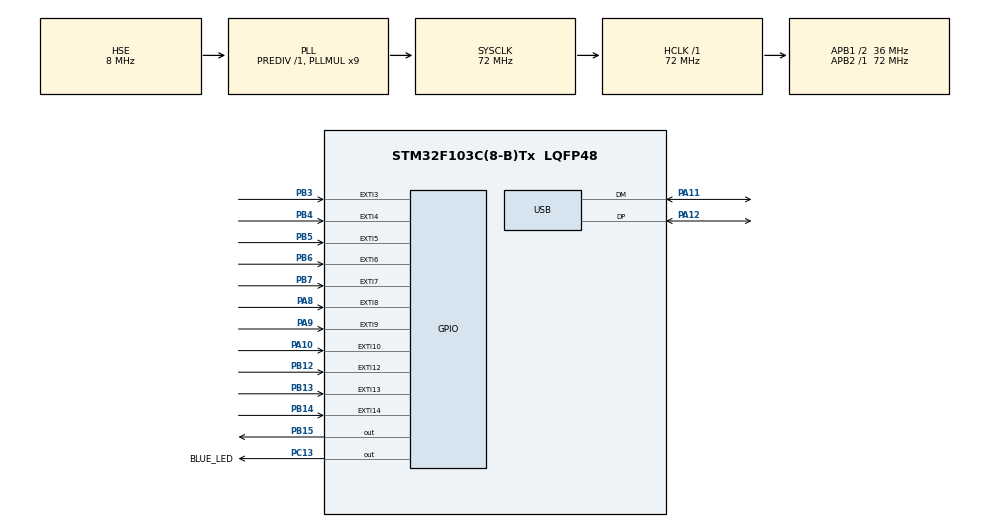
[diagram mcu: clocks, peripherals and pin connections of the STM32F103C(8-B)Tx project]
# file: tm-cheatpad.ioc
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Mcu.Family=STM32F1
Mcu.Name=STM32F103C(8-B)Tx
Mcu.Package=LQFP48
NVIC.EXTI15_10_IRQn=true\:0\:0\:false\:false\:true
NVIC.EXTI3_IRQn=true\:0\:0\:false\:false\:true
NVIC.EXTI4_IRQn=true\:0\:0\:false\:false\:true
NVIC.EXTI9_5_IRQn=true\:0\:0\:false\:false\:true
NVIC.PriorityGroup=NVIC_PRIORITYGROUP_4
NVIC.USB_LP_CAN1_RX0_IRQn=true\:0\:0\:false\:false\:true
PA10.GPIO_ModeDefaultEXTI=GPIO_MODE_IT_FALLING
PA10.Signal=GPXTI10
PA11.Mode=Device
PA11.Signal=USB_DM
PA12.Mode=Device
PA12.Signal=USB_DP
PA13.Mode=Serial_Wire
PA13.Signal=SYS_JTMS-SWDIO
PA14.Mode=Serial_Wire
PA14.Signal=SYS_JTCK-SWCLK
PA8.GPIO_ModeDefaultEXTI=GPIO_MODE_IT_FALLING
PA8.Signal=GPXTI8
PA9.GPIO_ModeDefaultEXTI=GPIO_MODE_IT_FALLING
PA9.Signal=GPXTI9
PB12.GPIO_ModeDefaultEXTI=GPIO_MODE_IT_FALLING
PB12.Signal=GPXTI12
PB13.GPIO_ModeDefaultEXTI=GPIO_MODE_IT_FALLING
PB13.Signal=GPXTI13
PB14.GPIO_ModeDefaultEXTI=GPIO_MODE_IT_FALLING
PB14.Signal=GPXTI14
PB15.GPIO_ModeDefaultOutputPP=GPIO_MODE_OUTPUT_PP
PB15.GPIO_Speed=GPIO_SPEED_FREQ_LOW
PB15.PinState=GPIO_PIN_SET
PB15.Signal=GPIO_Output
PB3.GPIO_ModeDefaultEXTI=GPIO_MODE_IT_FALLING
PB3.Signal=GPXTI3
PB4.GPIO_ModeDefaultEXTI=GPIO_MODE_IT_FALLING
PB4.Signal=GPXTI4
PB5.GPIO_ModeDefaultEXTI=GPIO_MODE_IT_FALLING
PB5.Signal=GPXTI5
PB6.GPIO_ModeDefaultEXTI=GPIO_MODE_IT_FALLING
PB6.Signal=GPXTI6
PB7.GPIO_ModeDefaultEXTI=GPIO_MODE_IT_FALLING
PB7.Signal=GPXTI7
PC13-TAMPER-RTC.GPIO_Label=BLUE_LED
PC13-TAMPER-RTC.Signal=GPIO_Output
PD0-OSC_IN.Mode=HSE-External-Oscillator
PD0-OSC_IN.Signal=RCC_OSC_IN
PD1-OSC_OUT.Mode=HSE-External-Oscillator
PD1-OSC_OUT.Signal=RCC_OSC_OUT
ProjectManager.HeapSize=0x200
ProjectManager.StackSize=0x400
ProjectManager.TargetToolchain=SW4STM32
RCC.AHBFreq_Value=72000000
RCC.APB1CLKDivider=RCC_HCLK_DIV2
RCC.APB1Freq_Value=36000000
RCC.APB1TimFreq_Value=72000000
RCC.APB2Freq_Value=72000000
RCC.APB2TimFreq_Value=72000000
RCC.HCLKFreq_Value=72000000
RCC.HSIState=RCC_HSI_ON
RCC.PLLMUL=RCC_PLL_MUL9
RCC.SYSCLKFreq_VALUE=72000000
RCC.SYSCLKSource=RCC_SYSCLKSOURCE_PLLCLK
RCC.USBFreq_Value=48000000
RCC.USBPrescaler=RCC_USBCLKSOURCE_PLL_DIV1_5
RCC.VDD_VALUE=3.3
USB_DEVICE.CLASS_NAME_FS=HID
USB_DEVICE.VirtualModeFS=Hid_FS
VP_USB_DEVICE_VS_USB_DEVICE_HID_FS.Mode=HID_FS
board=tm-cheatpad

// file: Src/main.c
/**
  ******************************************************************************
  * File Name          : main.c
  * Description        : Main program body
  ******************************************************************************
  *
  * Copyright (c) 2017 STMicroelectronics International N.V.
  * All rights reserved.
  *
  * Redistribution and use in source and binary forms, with or without
  * modification, are permitted, provided that the following conditions are met:
  *
  * 1. Redistribution of source code must retain the above copyright notice,
  *    this list of conditions and the following disclaimer.
  * 2. Redistributions in binary form must reproduce the above copyright notice,
  *    this list of conditions and the following disclaimer in the documentation
  *    and/or other materials provided with the distribution.
  * 3. Neither the name of STMicroelectronics nor the names of other
  *    contributors to this software may be used to endorse or promote products
  *    derived from this software without specific written permission.
  * 4. This software, including modifications and/or derivative works of this
  *    software, must execute solely and exclusively on microcontroller or
  *    microprocessor devices manufactured by or for STMicroelectronics.
  * 5. Redistribution and use of this software other than as permitted under
  *    this license is void and will automatically terminate your rights under
  *    this license.
  *
  * THIS SOFTWARE IS PROVIDED BY STMICROELECTRONICS AND CONTRIBUTORS "AS IS"
  * AND ANY EXPRESS, IMPLIED OR STATUTORY WARRANTIES, INCLUDING, BUT NOT
  * LIMITED TO, THE IMPLIED WARRANTIES OF MERCHANTABILITY, FITNESS FOR A
  * PARTICULAR PURPOSE AND NON-INFRINGEMENT OF THIRD PARTY INTELLECTUAL PROPERTY
  * RIGHTS ARE DISCLAIMED TO THE FULLEST EXTENT PERMITTED BY LAW. IN NO EVENT
  * SHALL STMICROELECTRONICS OR CONTRIBUTORS BE LIABLE FOR ANY DIRECT, INDIRECT,
  * INCIDENTAL, SPECIAL, EXEMPLARY, OR CONSEQUENTIAL DAMAGES (INCLUDING, BUT NOT
  * LIMITED TO, PROCUREMENT OF SUBSTITUTE GOODS OR SERVICES; LOSS OF USE, DATA,
  * OR PROFITS; OR BUSINESS INTERRUPTION) HOWEVER CAUSED AND ON ANY THEORY OF
  * LIABILITY, WHETHER IN CONTRACT, STRICT LIABILITY, OR TORT (INCLUDING
  * NEGLIGENCE OR OTHERWISE) ARISING IN ANY WAY OUT OF THE USE OF THIS SOFTWARE,
  * EVEN IF ADVISED OF THE POSSIBILITY OF SUCH DAMAGE.
  *
  ******************************************************************************
  */
#include "main.h"
#include "stm32f1xx_hal.h"
#include "usb_device.h"
#include "gpio.h"

/* USER CODE BEGIN Includes */
#include "usbd_hid.h"
#include "gamepad.h"
/* USER CODE END Includes */

/* USER CODE BEGIN PV */
/* Private variables ---------------------------------------------------------*/
extern Gamepad_Report_t gamepadState;

/* USER CODE END PV */

void SystemClock_Config(void);
void Error_Handler(void);

/* USER CODE BEGIN PFP */
/* Private function prototypes -----------------------------------------------*/

/* USER CODE END PFP */

/* USER CODE BEGIN 0 */
#define BTN_DELAY 400
void StartTraining() {
	for (int i = 1; i <= 5; i++) {
		PushButton(PAD_B, 50);
		HAL_Delay(BTN_DELAY);
	}

	for (int i = 1; i <= 1; i++) {
		PushButton(PAD_A, 50);
		HAL_Delay(BTN_DELAY);
	}

	for (int i = 1; i <= 4; i++) {
		PushButton(PAD_DOWN, 50);
		HAL_Delay(BTN_DELAY);
	}

	for (int i = 1; i <= 2; i++) {
		PushButton(PAD_A, 50);
		HAL_Delay(BTN_DELAY);
	}

	HAL_Delay(2000); // wait till load
	PushButton(PAD_DOWN, 50);
	HAL_Delay(BTN_DELAY);

	PushButton(PAD_X, 50);
	HAL_Delay(BTN_DELAY);

	for (int i = 1; i <= 4; i++) {
		PushButton(PAD_DOWN, 50);
		HAL_Delay(BTN_DELAY);
	}

	PushButton(PAD_A, 50);
	HAL_Delay(BTN_DELAY);

	PushButton(PAD_RIGHT, 50);
	HAL_Delay(BTN_DELAY);

	for (int i = 1; i <= 4; i++) {
		PushButton(PAD_A, 50);
		HAL_Delay(BTN_DELAY);
	}
}

void ReturnToTrain(){
	for (int i = 1; i <= 5; i++) {
		PushButton(PAD_B, 60);
		HAL_Delay(100);
	}
}

void SendTestData() {

	// Hat Switch test
	for (uint16_t i = 0; i <= 8; ++i) {
		gamepadState.bButtonPacket1 = i;

		USBD_HID_SendReport(&hUsbDeviceFS, &gamepadState,
				sizeof(Gamepad_Report_t));
		HAL_Delay(100);
	}

	// Buttons test
	for (uint16_t i = 0; i < 16; ++i) {
		gamepadState.bButtonPacket1 = 1 << i;
		gamepadState.bButtonPacket2 = 1 << i;

		USBD_HID_SendReport(&hUsbDeviceFS, &gamepadState,
				sizeof(Gamepad_Report_t));
		HAL_Delay(100);
	}

	// Left test
	for (int16_t i = -127; i <= 127; ++i) {
		gamepadState.left_x = i;
		gamepadState.left_y = i;

		USBD_HID_SendReport(&hUsbDeviceFS, &gamepadState,
				sizeof(Gamepad_Report_t));
		HAL_Delay(10);
	}
	// right test
	for (int16_t i = -127; i <= 127; ++i) {
		gamepadState.left_trigger = i;
		gamepadState.right_trigger = -i;

		USBD_HID_SendReport(&hUsbDeviceFS, &gamepadState,
				sizeof(Gamepad_Report_t));
		HAL_Delay(10);
	}
}
/* USER CODE END 0 */

int main(void)
{

  /* USER CODE BEGIN 1 */
	//MX_ResetUSB();
  /* USER CODE END 1 */

  /* MCU Configuration----------------------------------------------------------*/

  /* Reset of all peripherals, Initializes the Flash interface and the Systick. */
  HAL_Init();

  /* Configure the system clock */
  SystemClock_Config();

  /* Initialize all configured peripherals */
  MX_GPIO_Init();
  MX_USB_DEVICE_Init();

  /* USER CODE BEGIN 2 */
	// Enter training.
//	HAL_Delay(5000);

//	PushButton(PAD_START, 60);
//	ReturnToTrain();
//	StartTraining();
  	HAL_GPIO_WritePin(BLUE_LED_GPIO_Port, BLUE_LED_Pin, 1);
  /* USER CODE END 2 */

  /* Infinite loop */
  /* USER CODE BEGIN WHILE */
	while (1) {
	//	HAL_GPIO_WritePin(BLUE_LED_GPIO_Port, BLUE_LED_Pin, 0);
  /* USER CODE END WHILE */

  /* USER CODE BEGIN 3 */
        PushButton(PAD_A, 500);
//		PushButton(PAD_RIGHT, 500);
//		PushButton(PAD_Y, 70);
//      SendTestData();
	//	HAL_GPIO_WritePin(BLUE_LED_GPIO_Port, BLUE_LED_Pin, 1);
		HAL_Delay(500);
	}
  /* USER CODE END 3 */

}

/** System Clock Configuration
*/
void SystemClock_Config(void)
{

  RCC_OscInitTypeDef RCC_OscInitStruct;
  RCC_ClkInitTypeDef RCC_ClkInitStruct;
  RCC_PeriphCLKInitTypeDef PeriphClkInit;

    /**Initializes the CPU, AHB and APB busses clocks
    */
  RCC_OscInitStruct.OscillatorType = RCC_OSCILLATORTYPE_HSE;
  RCC_OscInitStruct.HSEState = RCC_HSE_ON;
  RCC_OscInitStruct.HSEPredivValue = RCC_HSE_PREDIV_DIV1;
  RCC_OscInitStruct.HSIState = RCC_HSI_ON;
  RCC_OscInitStruct.PLL.PLLState = RCC_PLL_ON;
  RCC_OscInitStruct.PLL.PLLSource = RCC_PLLSOURCE_HSE;
  RCC_OscInitStruct.PLL.PLLMUL = RCC_PLL_MUL9;
  if (HAL_RCC_OscConfig(&RCC_OscInitStruct) != HAL_OK)
  {
    Error_Handler();
  }

    /**Initializes the CPU, AHB and APB busses clocks
    */
  RCC_ClkInitStruct.ClockType = RCC_CLOCKTYPE_HCLK|RCC_CLOCKTYPE_SYSCLK
                              |RCC_CLOCKTYPE_PCLK1|RCC_CLOCKTYPE_PCLK2;
  RCC_ClkInitStruct.SYSCLKSource = RCC_SYSCLKSOURCE_PLLCLK;
  RCC_ClkInitStruct.AHBCLKDivider = RCC_SYSCLK_DIV1;
  RCC_ClkInitStruct.APB1CLKDivider = RCC_HCLK_DIV2;
  RCC_ClkInitStruct.APB2CLKDivider = RCC_HCLK_DIV1;

  if (HAL_RCC_ClockConfig(&RCC_ClkInitStruct, FLASH_LATENCY_2) != HAL_OK)
  {
    Error_Handler();
  }

  PeriphClkInit.PeriphClockSelection = RCC_PERIPHCLK_USB;
  PeriphClkInit.UsbClockSelection = RCC_USBCLKSOURCE_PLL_DIV1_5;
  if (HAL_RCCEx_PeriphCLKConfig(&PeriphClkInit) != HAL_OK)
  {
    Error_Handler();
  }

    /**Configure the Systick interrupt time
    */
  HAL_SYSTICK_Config(HAL_RCC_GetHCLKFreq()/1000);

    /**Configure the Systick
    */
  HAL_SYSTICK_CLKSourceConfig(SYSTICK_CLKSOURCE_HCLK);

  /* SysTick_IRQn interrupt configuration */
  HAL_NVIC_SetPriority(SysTick_IRQn, 0, 0);
}

void Error_Handler(void)
{
  /* USER CODE BEGIN Error_Handler */
	/* User can add his own implementation to report the HAL error return state */
	while (1) {
		HAL_GPIO_TogglePin(BLUE_LED_GPIO_Port, BLUE_LED_Pin);
		HAL_Delay(50);
	}
  /* USER CODE END Error_Handler */
}

/************************ (C) COPYRIGHT STMicroelectronics *****END OF FILE****/
